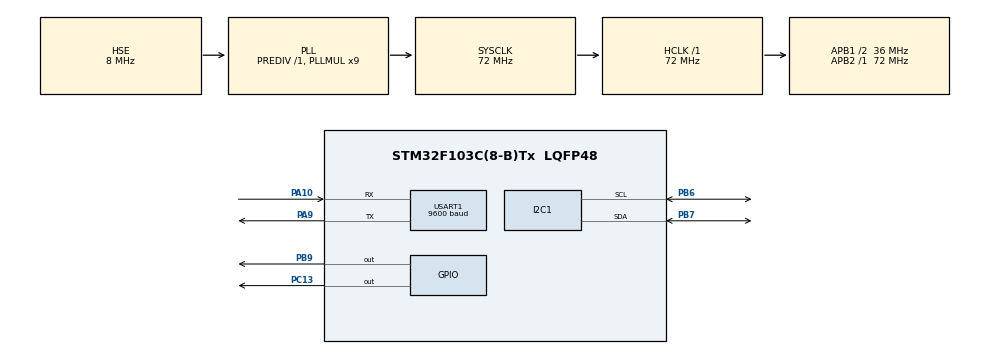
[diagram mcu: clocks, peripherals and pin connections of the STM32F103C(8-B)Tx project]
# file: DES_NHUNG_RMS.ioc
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FREERTOS.Mutexes01=I2C,Dynamic,NULL,Depleted
FREERTOS.Queues01=LCD,5,20,1,Dynamic,NULL,NULL;TX,10,50,1,Dynamic,NULL,NULL
FREERTOS.Tasks01=DHT11,2,512,StartDHT11,Default,NULL,Dynamic,NULL,NULL;DS1307,2,512,StartIDS1307,Default,NULL,Dynamic,NULL,NULL;RXTask,2,512,StartRX,Default,NULL,Dynamic,NULL,NULL;LCDTask,2,512,StartLCD,Default,NULL,Dynamic,NULL,NULL;TXTask,0,512,StartTX,Default,NULL,Dynamic,NULL,NULL;LCDROW2,-3,512,StartTaskROW2,Default,NULL,Dynamic,NULL,NULL
FREERTOS.configTOTAL_HEAP_SIZE=16384
FREERTOS.configUSE_NEWLIB_REENTRANT=1
Mcu.Family=STM32F1
Mcu.Name=STM32F103C(8-B)Tx
Mcu.Package=LQFP48
NVIC.PriorityGroup=NVIC_PRIORITYGROUP_4
NVIC.TIM3_IRQn=true\:15\:0\:false\:false\:true\:false\:false\:true\:true
NVIC.TimeBase=TIM3_IRQn
NVIC.TimeBaseIP=TIM3
PA10.Mode=Asynchronous
PA10.Signal=USART1_RX
PA13.Mode=Serial_Wire
PA13.Signal=SYS_JTMS-SWDIO
PA14.Mode=Serial_Wire
PA14.Signal=SYS_JTCK-SWCLK
PA9.Mode=Asynchronous
PA9.Signal=USART1_TX
PB6.Mode=I2C
PB6.Signal=I2C1_SCL
PB7.Mode=I2C
PB7.Signal=I2C1_SDA
PB9.GPIO_PuPd=GPIO_PULLUP
PB9.Signal=GPIO_Output
PC13-TAMPER-RTC.GPIO_PuPd=GPIO_NOPULL
PC13-TAMPER-RTC.Signal=GPIO_Output
PD0-OSC_IN.Mode=HSE-External-Oscillator
PD0-OSC_IN.Signal=RCC_OSC_IN
PD1-OSC_OUT.Mode=HSE-External-Oscillator
PD1-OSC_OUT.Signal=RCC_OSC_OUT
ProjectManager.HeapSize=0x200
ProjectManager.StackSize=0x400
ProjectManager.TargetToolchain=STM32CubeIDE
RCC.AHBFreq_Value=72000000
RCC.APB1CLKDivider=RCC_HCLK_DIV2
RCC.APB1Freq_Value=36000000
RCC.APB1TimFreq_Value=72000000
RCC.APB2Freq_Value=72000000
RCC.APB2TimFreq_Value=72000000
RCC.HCLKFreq_Value=72000000
RCC.PLLMUL=RCC_PLL_MUL9
RCC.PLLSourceVirtual=RCC_PLLSOURCE_HSE
RCC.SYSCLKFreq_VALUE=72000000
RCC.SYSCLKSource=RCC_SYSCLKSOURCE_PLLCLK
RCC.USBFreq_Value=72000000
TIM1.Prescaler=71
USART1.BaudRate=9600
USART1.VirtualMode=VM_ASYNC
VP_FREERTOS_VS_CMSIS_V1.Mode=CMSIS_V1
VP_SYS_VS_tim3.Mode=TIM3
VP_TIM1_VS_ClockSourceINT.Mode=Internal
board=custom

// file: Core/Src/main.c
/* USER CODE BEGIN Header */
/**
  ******************************************************************************
  * @file           : main.c
  * @brief          : Main program body
  ******************************************************************************
  * @attention
  *
  * Copyright (c) 2025 STMicroelectronics.
  * All rights reserved.
  *
  * This software is licensed under terms that can be found in the LICENSE file
  * in the root directory of this software component.
  * If no LICENSE file comes with this software, it is provided AS-IS.
  *
  ******************************************************************************
  */
/* USER CODE END Header */
#include "main.h"
#include "cmsis_os.h"

/* USER CODE BEGIN Includes */
#include "string.h"
#include "stdlib.h"
#include "stdio.h"
#include "liquidcrystal_i2c.h"
#include "DS1307.h"
#include "DHT.h"
/* USER CODE END Includes */

/* USER CODE BEGIN PM */
uint8_t hour;
uint8_t min;
uint8_t sec;
int set_hour = 0xFF;
int set_min = 0xFF;
int set_sec = 0xFF;
float temp = 27;

/* USER CODE END PM */

I2C_HandleTypeDef hi2c1;

TIM_HandleTypeDef htim1;

UART_HandleTypeDef huart1;

osThreadId DHT11Handle;
osThreadId DS1307Handle;
osThreadId RXTaskHandle;
osThreadId LCDTaskHandle;
osThreadId TXTaskHandle;
osThreadId LCDROW2Handle;
osMessageQId LCDHandle;
osMessageQId TXHandle;
osMutexId I2CHandle;

void SystemClock_Config(void);
static void MX_GPIO_Init(void);
static void MX_I2C1_Init(void);
static void MX_TIM1_Init(void);
static void MX_USART1_UART_Init(void);
void StartDHT11(void const * argument);
void StartIDS1307(void const * argument);
void StartRX(void const * argument);
void StartLCD(void const * argument);
void StartTX(void const * argument);
void StartTaskROW2(void const * argument);

/* USER CODE BEGIN 0 */
uint8_t decToBcd(uint8_t val) {
  return ((val / 10) << 4) | (val % 10);
}

uint8_t bcdToDec(uint8_t val) {
  return ((val >> 4) * 10) + (val & 0x0F);
}

void setDS1307Time(uint8_t set_hour, uint8_t set_min, uint8_t set_sec) {
  uint8_t data[3];

  data[0] = decToBcd(set_sec); // Giây
  data[1] = decToBcd(set_min); // Phút
  data[2] = decToBcd(set_hour); // Giờ

  // Ghi dữ liệu vào DS1307
  HAL_I2C_Mem_Write(&hi2c1, 0xD0, 0x00, 1, data, 3, 1000); // Địa chỉ DS1307 là 0xD0
}

/* USER CODE END 0 */

int main(void)
{

  /* MCU Configuration--------------------------------------------------------*/

  /* Reset of all peripherals, Initializes the Flash interface and the Systick. */
  HAL_Init();

  /* Configure the system clock */
  SystemClock_Config();

  /* Initialize all configured peripherals */
  MX_GPIO_Init();
  MX_I2C1_Init();
  MX_TIM1_Init();
  MX_USART1_UART_Init();
  /* USER CODE BEGIN 2 */
  HAL_TIM_Base_Start(&htim1);
  HD44780_Init(2);
  DS1307_Init(&hi2c1);
  float t = DHT11();
  if(t != 0)
  {
	  temp = t;
  }
  /* USER CODE END 2 */

  /* Create the mutex(es) */
  /* definition and creation of I2C */
  osMutexDef(I2C);
  I2CHandle = osMutexCreate(osMutex(I2C));

  /* Create the queue(s) */
  /* definition and creation of LCD */
  osMessageQDef(LCD, 5, 20);
  LCDHandle = osMessageCreate(osMessageQ(LCD), NULL);

  /* definition and creation of TX */
  osMessageQDef(TX, 10, 50);
  TXHandle = osMessageCreate(osMessageQ(TX), NULL);

  /* Create the thread(s) */
  /* definition and creation of DHT11 */
  osThreadDef(DHT11, StartDHT11, osPriorityHigh, 0, 512);
  DHT11Handle = osThreadCreate(osThread(DHT11), NULL);

  /* definition and creation of DS1307 */
  osThreadDef(DS1307, StartIDS1307, osPriorityHigh, 0, 512);
  DS1307Handle = osThreadCreate(osThread(DS1307), NULL);

  /* definition and creation of RXTask */
  osThreadDef(RXTask, StartRX, osPriorityHigh, 0, 512);
  RXTaskHandle = osThreadCreate(osThread(RXTask), NULL);

  /* definition and creation of LCDTask */
  osThreadDef(LCDTask, StartLCD, osPriorityHigh, 0, 512);
  LCDTaskHandle = osThreadCreate(osThread(LCDTask), NULL);

  /* definition and creation of TXTask */
  osThreadDef(TXTask, StartTX, osPriorityNormal, 0, 512);
  TXTaskHandle = osThreadCreate(osThread(TXTask), NULL);

  /* definition and creation of LCDROW2 */
  osThreadDef(LCDROW2, StartTaskROW2, osPriorityIdle, 0, 512);
  LCDROW2Handle = osThreadCreate(osThread(LCDROW2), NULL);

  /* Start scheduler */
  osKernelStart();

  /* We should never get here as control is now taken by the scheduler */

  /* Infinite loop */
  while (1)
  {

  }
}

void SystemClock_Config(void)
{
  RCC_OscInitTypeDef RCC_OscInitStruct = {0};
  RCC_ClkInitTypeDef RCC_ClkInitStruct = {0};

  /** Initializes the RCC Oscillators according to the specified parameters
  * in the RCC_OscInitTypeDef structure.
  */
  RCC_OscInitStruct.OscillatorType = RCC_OSCILLATORTYPE_HSE;
  RCC_OscInitStruct.HSEState = RCC_HSE_ON;
  RCC_OscInitStruct.HSEPredivValue = RCC_HSE_PREDIV_DIV1;
  RCC_OscInitStruct.HSIState = RCC_HSI_ON;
  RCC_OscInitStruct.PLL.PLLState = RCC_PLL_ON;
  RCC_OscInitStruct.PLL.PLLSource = RCC_PLLSOURCE_HSE;
  RCC_OscInitStruct.PLL.PLLMUL = RCC_PLL_MUL9;
  if (HAL_RCC_OscConfig(&RCC_OscInitStruct) != HAL_OK)
  {
    Error_Handler();
  }

  /** Initializes the CPU, AHB and APB buses clocks
  */
  RCC_ClkInitStruct.ClockType = RCC_CLOCKTYPE_HCLK|RCC_CLOCKTYPE_SYSCLK
                              |RCC_CLOCKTYPE_PCLK1|RCC_CLOCKTYPE_PCLK2;
  RCC_ClkInitStruct.SYSCLKSource = RCC_SYSCLKSOURCE_PLLCLK;
  RCC_ClkInitStruct.AHBCLKDivider = RCC_SYSCLK_DIV1;
  RCC_ClkInitStruct.APB1CLKDivider = RCC_HCLK_DIV2;
  RCC_ClkInitStruct.APB2CLKDivider = RCC_HCLK_DIV1;

  if (HAL_RCC_ClockConfig(&RCC_ClkInitStruct, FLASH_LATENCY_2) != HAL_OK)
  {
    Error_Handler();
  }
}

static void MX_I2C1_Init(void)
{

  hi2c1.Instance = I2C1;
  hi2c1.Init.ClockSpeed = 100000;
  hi2c1.Init.DutyCycle = I2C_DUTYCYCLE_2;
  hi2c1.Init.OwnAddress1 = 0;
  hi2c1.Init.AddressingMode = I2C_ADDRESSINGMODE_7BIT;
  hi2c1.Init.DualAddressMode = I2C_DUALADDRESS_DISABLE;
  hi2c1.Init.OwnAddress2 = 0;
  hi2c1.Init.GeneralCallMode = I2C_GENERALCALL_DISABLE;
  hi2c1.Init.NoStretchMode = I2C_NOSTRETCH_DISABLE;
  if (HAL_I2C_Init(&hi2c1) != HAL_OK)
  {
    Error_Handler();
  }

}

static void MX_TIM1_Init(void)
{

  TIM_ClockConfigTypeDef sClockSourceConfig = {0};
  TIM_MasterConfigTypeDef sMasterConfig = {0};

  htim1.Instance = TIM1;
  htim1.Init.Prescaler = 71;
  htim1.Init.CounterMode = TIM_COUNTERMODE_UP;
  htim1.Init.Period = 65535;
  htim1.Init.ClockDivision = TIM_CLOCKDIVISION_DIV1;
  htim1.Init.RepetitionCounter = 0;
  htim1.Init.AutoReloadPreload = TIM_AUTORELOAD_PRELOAD_DISABLE;
  if (HAL_TIM_Base_Init(&htim1) != HAL_OK)
  {
    Error_Handler();
  }
  sClockSourceConfig.ClockSource = TIM_CLOCKSOURCE_INTERNAL;
  if (HAL_TIM_ConfigClockSource(&htim1, &sClockSourceConfig) != HAL_OK)
  {
    Error_Handler();
  }
  sMasterConfig.MasterOutputTrigger = TIM_TRGO_RESET;
  sMasterConfig.MasterSlaveMode = TIM_MASTERSLAVEMODE_DISABLE;
  if (HAL_TIMEx_MasterConfigSynchronization(&htim1, &sMasterConfig) != HAL_OK)
  {
    Error_Handler();
  }

}

static void MX_USART1_UART_Init(void)
{

  huart1.Instance = USART1;
  huart1.Init.BaudRate = 9600;
  huart1.Init.WordLength = UART_WORDLENGTH_8B;
  huart1.Init.StopBits = UART_STOPBITS_1;
  huart1.Init.Parity = UART_PARITY_NONE;
  huart1.Init.Mode = UART_MODE_TX_RX;
  huart1.Init.HwFlowCtl = UART_HWCONTROL_NONE;
  huart1.Init.OverSampling = UART_OVERSAMPLING_16;
  if (HAL_UART_Init(&huart1) != HAL_OK)
  {
    Error_Handler();
  }

}

static void MX_GPIO_Init(void)
{
  GPIO_InitTypeDef GPIO_InitStruct = {0};

  /* GPIO Ports Clock Enable */
  __HAL_RCC_GPIOC_CLK_ENABLE();
  __HAL_RCC_GPIOD_CLK_ENABLE();
  __HAL_RCC_GPIOA_CLK_ENABLE();
  __HAL_RCC_GPIOB_CLK_ENABLE();

  /*Configure GPIO pin Output Level */
  HAL_GPIO_WritePin(GPIOC, GPIO_PIN_13, GPIO_PIN_RESET);

  /*Configure GPIO pin Output Level */
  HAL_GPIO_WritePin(GPIOB, GPIO_PIN_9, GPIO_PIN_RESET);

  /*Configure GPIO pin : PC13 */
  GPIO_InitStruct.Pin = GPIO_PIN_13;
  GPIO_InitStruct.Mode = GPIO_MODE_OUTPUT_PP;
  GPIO_InitStruct.Pull = GPIO_NOPULL;
  GPIO_InitStruct.Speed = GPIO_SPEED_FREQ_LOW;
  HAL_GPIO_Init(GPIOC, &GPIO_InitStruct);

  /*Configure GPIO pin : PB9 */
  GPIO_InitStruct.Pin = GPIO_PIN_9;
  GPIO_InitStruct.Mode = GPIO_MODE_OUTPUT_PP;
  GPIO_InitStruct.Pull = GPIO_PULLUP;
  GPIO_InitStruct.Speed = GPIO_SPEED_FREQ_LOW;
  HAL_GPIO_Init(GPIOB, &GPIO_InitStruct);

}

void StartDHT11(void const * argument)
{
  /* USER CODE BEGIN 5 */
  /* Infinite loop */
//osDelay(1000);
  for(;;)
  {
	  float t = DHT11();
	  if(t != 0)
	  {
		  temp = t;
	  }
		char Mess[20];
		sprintf(Mess, "H: %0.1fH\n", temp);
		osMessagePut(TXHandle, (uint32_t)Mess, osWaitForever);
      osDelay(5000);
  }
  /* USER CODE END 5 */
}

void StartIDS1307(void const * argument)
{
  /* USER CODE BEGIN StartIDS1307 */
  /* Infinite loop */
  for(;;)
  {
	  if (osMutexWait(I2CHandle, osWaitForever) == osOK)
	  {
		  if(set_hour < 24 && set_min < 60 && set_sec < 60 && set_hour >= 0 && set_min >= 0 && set_sec >= 0)
		  {
			  setDS1307Time(set_hour, set_min, set_sec);
			  set_hour = 0xFF;
			  set_min = 0xFF;
			  set_sec = 0xFF;
		  }
		  else
		  {
			hour = DS1307_GetHour();
			min = DS1307_GetMinute();
			sec = DS1307_GetSecond();
			char Mess[20];
			sprintf(Mess, "Time Now: %02d:%02d:%02d\n", hour, min,sec);
			  osMessagePut(TXHandle, (uint32_t)Mess, osWaitForever);
		  }
			osMutexRelease(I2CHandle);
	  }
	  osDelay(1000);
  }
  /* USER CODE END StartIDS1307 */
}

void StartRX(void const * argument)
{
  /* USER CODE BEGIN StartRX */
  /* Infinite loop */
	char Rx_data[50];
  for(;;)
  {
		memset(Rx_data,0,sizeof(Rx_data));
		HAL_UART_Receive(&huart1, (uint8_t*)Rx_data, sizeof(Rx_data), 500);
		if(strlen(Rx_data) > 0)
		{
			if (Rx_data[0] == 'S' && Rx_data[1] == 'T' && strlen(Rx_data) > 5)
			{
				int set_h, set_m, set_s;
				if (sscanf(Rx_data, "ST%d%d%d", &set_h, &set_m, &set_s) == 3)
				{
					set_hour = set_h;
					set_min = set_m;
					set_sec = set_s;
					char Mess[] = "Set DS1307\n";
					osMessagePut(TXHandle, (uint32_t)Mess, osWaitForever);
					HAL_GPIO_TogglePin(GPIOC, GPIO_PIN_13);
				}
				else
				{
					char Mess[] = "Invalid\n";
					osMessagePut(TXHandle, (uint32_t)Mess, osWaitForever);
				}
			}
			else if (Rx_data[0] == 'S' && Rx_data[1] == 'P')
			{
				char *p = &Rx_data[3];
				osMessagePut(LCDHandle, (uint32_t)p, osWaitForever);
				char Mess[] = "Print To LCD\n";
				osMessagePut(TXHandle, (uint32_t)Mess, osWaitForever);
			}
			else if (Rx_data[0] == 'G')
			{
				char Mess[20];
				sprintf(Mess, "Time: %02d:%02d:%02d\n", hour, min,sec);
				osMessagePut(TXHandle, (uint32_t)Mess, osWaitForever);
			}
			else if(strlen(Rx_data)>1)
			{
				char Err[] = "Non_true_form\n";
				osMessagePut(TXHandle, (uint32_t)Err, osWaitForever);
			}
		}
      osDelay(500);
  }
  /* USER CODE END StartRX */
}

void StartLCD(void const * argument)
{
  /* USER CODE BEGIN StartLCD */
  /* Infinite loop */
  char LCD_ROW_1[20];
  for(;;)
  {
	  if (osMutexWait(I2CHandle, osWaitForever) == osOK)
	  {
		  HD44780_SetCursor(0,0);
//		  HD44780_PrintStr("                 ");
		  HD44780_SetCursor(0,0);
		  sprintf(LCD_ROW_1, "%.1f%%", temp);
		  HD44780_PrintStr(LCD_ROW_1);
		  sprintf(LCD_ROW_1, "%02d:%02d:%02d   ", hour, min,sec);
		  HD44780_SetCursor(8,0);
		  HD44780_PrintStr(LCD_ROW_1);
		  osMutexRelease(I2CHandle);
	  }
	  osDelay(300);
  }
  /* USER CODE END StartLCD */
}

void StartTX(void const * argument)
{
  /* USER CODE BEGIN StartTX */
  /* Infinite loop */
	osEvent event;
  for(;;){
	  event = osMessageGet(TXHandle, osWaitForever);
	  if (event.status == osEventMessage){
		  HAL_UART_Transmit(&huart1, (uint8_t*)event.value.v, strlen((char*)event.value.v), HAL_MAX_DELAY);
	  }
	  osDelay(200);
  }
  /* USER CODE END StartTX */
}

void StartTaskROW2(void const * argument)
{
  /* USER CODE BEGIN StartTaskROW2 */
  /* Infinite loop */
	osEvent event;
  for(;;){
	  event = osMessageGet(LCDHandle, osWaitForever);
	  if (event.status == osEventMessage){
		  if (osMutexWait(I2CHandle, osWaitForever) == osOK){
			  HD44780_SetCursor(0,1);
			  HD44780_PrintStr("                 ");
			  HD44780_SetCursor(0,1);
			  HD44780_PrintStr((char *)event.value.v);
			  osMutexRelease(I2CHandle);
		  }
	  }
	  osDelay(500);
  }
  /* USER CODE END StartTaskROW2 */
}

void HAL_TIM_PeriodElapsedCallback(TIM_HandleTypeDef *htim)
{
  if (htim->Instance == TIM3) {
    HAL_IncTick();
  }
}

void Error_Handler(void)
{
  __disable_irq();
  while (1)
  {
  }
}
